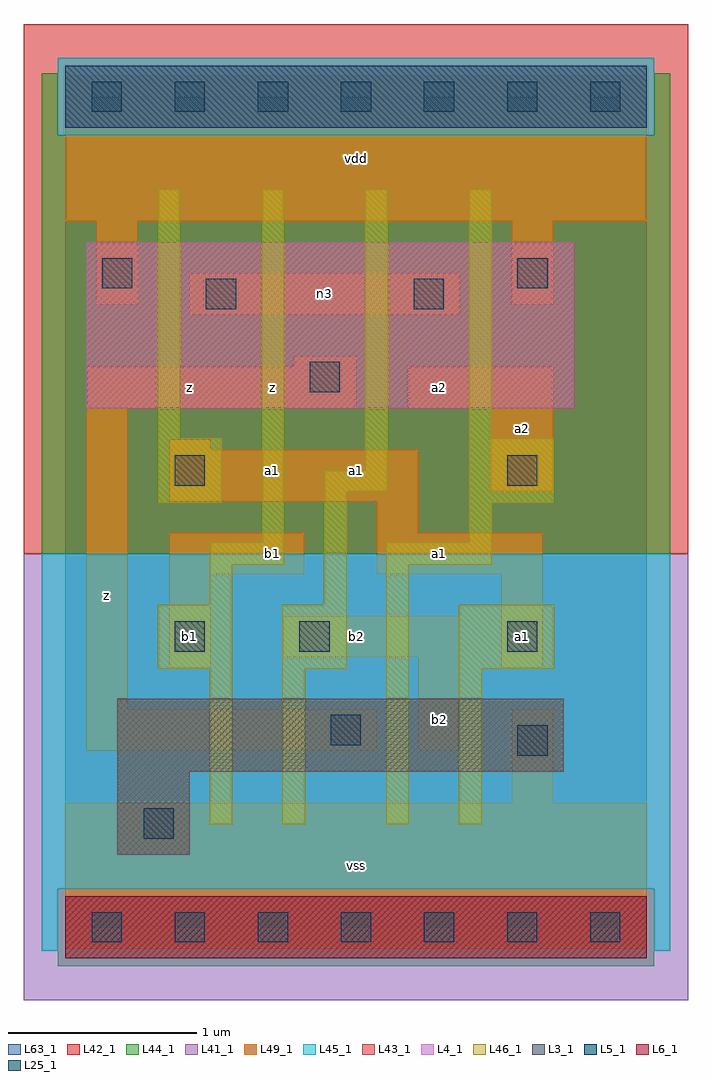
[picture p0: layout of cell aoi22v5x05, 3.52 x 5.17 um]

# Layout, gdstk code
import gdstk
lib = gdstk.Library(unit=1e-6, precision=1e-09)
def R(c, l, rs):  # rectangles x0, y0, x1, y1
    for r in rs: c.add(gdstk.rectangle(r[:2], r[2:], *l))
def A(c, l, x, y, w, h, nx, ny, dx, dy):  # array of equal rectangles
    R(c, l, [(x+i*dx, y+j*dy, x+i*dx+w, y+j*dy+h) for i in range(nx) for j in range(ny)])
L3_1 = (3, 1)
L4_1 = (4, 1)
L5_1 = (5, 1)
L6_1 = (6, 1)
L25_1 = (25, 1)
L41_1 = (41, 1)
L42_1 = (42, 1)
L43_1 = (43, 1)
L44_1 = (44, 1)
L45_1 = (45, 1)
L46_1 = (46, 1)
L49_1 = (49, 1)
L63_1 = (63, 1)

aoi22v5x05 = lib.new_cell('aoi22v5x05')
R(aoi22v5x05, L3_1, [(0.275,0.385,0.66,0.825), (0.275,0.825,2.64,1.21)])
R(aoi22v5x05, L4_1, [(0.11,2.75,2.695,3.63)])
R(aoi22v5x05, L5_1, [(0,4.235,3.08,4.565)])
R(aoi22v5x05, L6_1, [(0,-0.165,3.08,0.165)])
A(aoi22v5x05, L25_1, 0.14, -0.08, 0.16, 0.16, 7, 2, 0.44, 4.4)
R(aoi22v5x05, L25_1, [(0.415,0.47,0.575,0.63), (2.395,0.91,2.555,1.07), (1.405,0.965,1.565,1.125), (0.58,1.46,0.74,1.62), (1.24,1.46,1.4,1.62), (2.34,1.46,2.5,1.62), (0.58,2.34,0.74,2.5), (2.34,2.34,2.5,2.5), (1.295,2.835,1.455,2.995), (0.745,3.275,0.905,3.435), (1.845,3.275,2.005,3.435), (0.195,3.385,0.355,3.545), (2.395,3.385,2.555,3.545)])
R(aoi22v5x05, L41_1, [(-0.22,-0.385,3.3,1.98)])
R(aoi22v5x05, L42_1, [(-0.22,1.98,3.3,4.785)])
R(aoi22v5x05, L43_1, [(0,-0.165,3.08,0.165), (0.275,0.385,0.66,0.825), (0.275,0.825,2.64,1.21), (0.11,2.75,2.695,3.63), (0,4.235,3.08,4.565)])
R(aoi22v5x05, L44_1, [(-0.04,-0.205,3.12,0.205), (-0.125,1.98,3.205,4.195), (-0.125,4.195,-0.04,4.525), (3.12,4.195,3.205,4.525)])
R(aoi22v5x05, L45_1, [(-0.125,-0.125,-0.04,0.205), (3.12,-0.125,3.205,0.205), (-0.125,0.205,3.205,1.98), (-0.04,4.195,3.12,4.605)])
R(aoi22v5x05, L46_1, [(0.765,0.545,0.885,1.37), (1.15,0.545,1.27,1.37), (1.7,0.545,1.82,1.92), (2.085,0.545,2.205,1.37), (0.49,1.37,0.885,1.71), (1.15,1.37,1.49,1.71), (2.085,1.37,2.59,1.71), (0.765,1.71,0.885,1.92), (1.37,1.71,1.49,2.305), (0.765,1.92,1.16,2.04), (1.7,1.92,2.26,2.04), (1.04,2.04,1.16,3.91), (2.14,2.04,2.26,2.25), (0.49,2.25,0.83,2.59), (2.14,2.25,2.59,2.59), (1.37,2.305,1.71,2.425), (1.59,2.425,1.71,3.91), (0.49,2.59,0.61,3.91), (2.14,2.59,2.26,3.91)])
R(aoi22v5x05, L49_1, [(0,-0.11,3.08,0.66), (2.365,0.66,2.585,1.155), (0.11,0.935,1.65,1.155), (1.87,0.935,2.09,1.43), (0.11,1.155,0.33,2.75), (0.55,1.375,0.77,1.87), (2.31,1.375,2.53,1.87), (1.155,1.43,2.09,1.65), (0.55,1.87,1.265,2.09), (1.65,1.87,2.53,2.09), (1.65,2.09,1.87,2.255), (0.55,2.255,1.87,2.53), (2.255,2.31,2.585,2.75), (0.55,2.53,0.77,2.585), (0.11,2.75,1.54,2.97), (1.815,2.75,2.585,2.97), (1.21,2.97,1.54,3.025), (0.66,3.245,2.09,3.465), (0.165,3.3,0.385,3.74), (2.365,3.3,2.585,3.74), (0,3.74,3.08,4.51)])
R(aoi22v5x05, L63_1, [(0,0,3.08,4.4)])
aoi22v5x05.add(gdstk.Label('z', (0.22,1.76), layer=49, texttype=1))
aoi22v5x05.add(gdstk.Label('b1', (0.66,1.54), layer=49, texttype=1))
aoi22v5x05.add(gdstk.Label('z', (0.66,2.86), layer=49, texttype=1))
aoi22v5x05.add(gdstk.Label('vss', (1.54,0.33), layer=49, texttype=1))
aoi22v5x05.add(gdstk.Label('b2', (1.54,1.54), layer=49, texttype=1))
aoi22v5x05.add(gdstk.Label('b1', (1.1,1.98), layer=49, texttype=1))
aoi22v5x05.add(gdstk.Label('a1', (1.1,2.42), layer=49, texttype=1))
aoi22v5x05.add(gdstk.Label('a1', (1.54,2.42), layer=49, texttype=1))
aoi22v5x05.add(gdstk.Label('z', (1.1,2.86), layer=49, texttype=1))
aoi22v5x05.add(gdstk.Label('vdd', (1.54,4.07), layer=49, texttype=1))
aoi22v5x05.add(gdstk.Label('b2', (1.98,1.1), layer=49, texttype=1))
aoi22v5x05.add(gdstk.Label('a1', (2.42,1.54), layer=49, texttype=1))
aoi22v5x05.add(gdstk.Label('a1', (1.98,1.98), layer=49, texttype=1))
aoi22v5x05.add(gdstk.Label('a2', (2.42,2.64), layer=49, texttype=1))
aoi22v5x05.add(gdstk.Label('a2', (1.98,2.86), layer=49, texttype=1))
aoi22v5x05.add(gdstk.Label('n3', (1.375,3.355), layer=49, texttype=1))

lib.write_gds('aoi22v5x05.gds')
